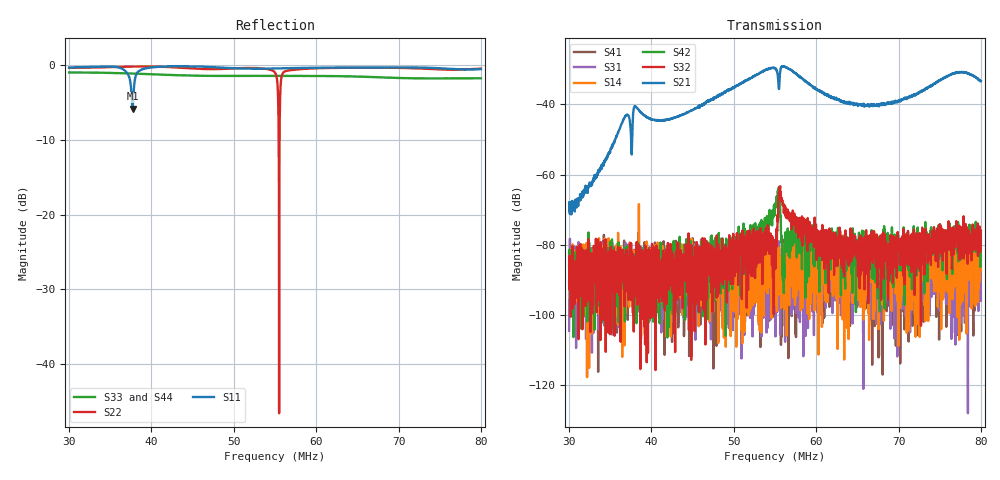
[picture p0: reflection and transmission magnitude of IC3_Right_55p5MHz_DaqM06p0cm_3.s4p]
#  HZ  S  DB  R  50.00
! Rohde & Schwarz Vector Network Analyzer
! Rohde-Schwarz,ZNB8-4Port,1311601044102961,2.82
! Created: UTC 2/13/2019, 1:54:39 PM
! freq[Hz]  db:S11  ang:S11  db:S12  ang:S12  db:S13  ang:S13  db:S14  ang:S14
!  db:S21  ang:S21  db:S22  ang:S22  db:S23  ang:S23  db:S24  ang:S24
!  db:S31  ang:S31  db:S32  ang:S32  db:S33  ang:S33  db:S34  ang:S34
!  db:S41  ang:S41  db:S42  ang:S42  db:S43  ang:S43  db:S44  ang:S44
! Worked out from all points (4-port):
!   2001 points, 30 MHz to 80 MHz, reference 50 ohm
!   strongest paths, dB at 30 MHz, 42.5 MHz, 55 MHz, 67.5 MHz, 80 MHz:
!     S21: -67.9, -44.0, -29.7, -39.9, -33.3
!     S32: -84.5, -82.6, -78.6, -79.6, -76.0
!     S42: -86.2, -86.1, -68.3, -95.4, -79.0
!     S14: -82.8, -82.8, -97.0, -82.8, -87.1
!     S31: -104.6, -98.0, -86.7, -83.3, -83.4
!     S41: -90.6, -107.7, -99.0, -87.1, -95.9
!   lowest |S11| = -5.8 dB at 37.7 MHz (marker M1), VSWR 3.10, Z = 111 - j64.5 ohm
!   |S11| at or under -10 dB: nowhere
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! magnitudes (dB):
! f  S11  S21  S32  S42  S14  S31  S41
! 30 MHz  -0.3  -67.9  -84.5  -86.2  -82.8  -104.6  -90.6
! 37.7 MHz  -5.8  -46.4  -86.8  -84.3  -90.8  -85.6  -81.8
! 51.58 MHz  -0.4  -33.1  -98.0  -86.6  -84.0  -84.3  -90.6
! 55.35 MHz  -0.4  -32.0  -73.3  -64.8  -84.3  -90.6  -89.5
! 56.1 MHz  -0.4  -29.2  -69.6  -85.4  -84.4  -82.3  -96.8
! 65.78 MHz  -0.3  -39.8  -80.9  -78.5  -101.3  -91.1  -89.8
! 80 MHz  -0.5  -33.3  -76.0  -79.0  -87.1  -83.4  -95.9
